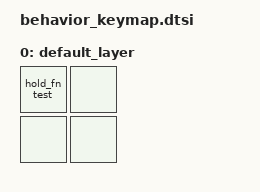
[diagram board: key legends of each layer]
#include <dt-bindings/zmk/keys.h>
#include <behaviors.dtsi>
#include <dt-bindings/zmk/kscan_mock.h>

/ {
    behaviors {
        hold_fn_test: hold_fn_test {
            compatible = "zmk,behavior-hold-fn";
            #binding-cells = <0>;
            bindings = <&kp GLOBE>, <&kp LC(LEFT)>;
        };
    };

    keymap {
        compatible = "zmk,keymap";

        default_layer {
            bindings = <
                &hold_fn_test  &none
                &none          &none
            >;
        };
    };
};
